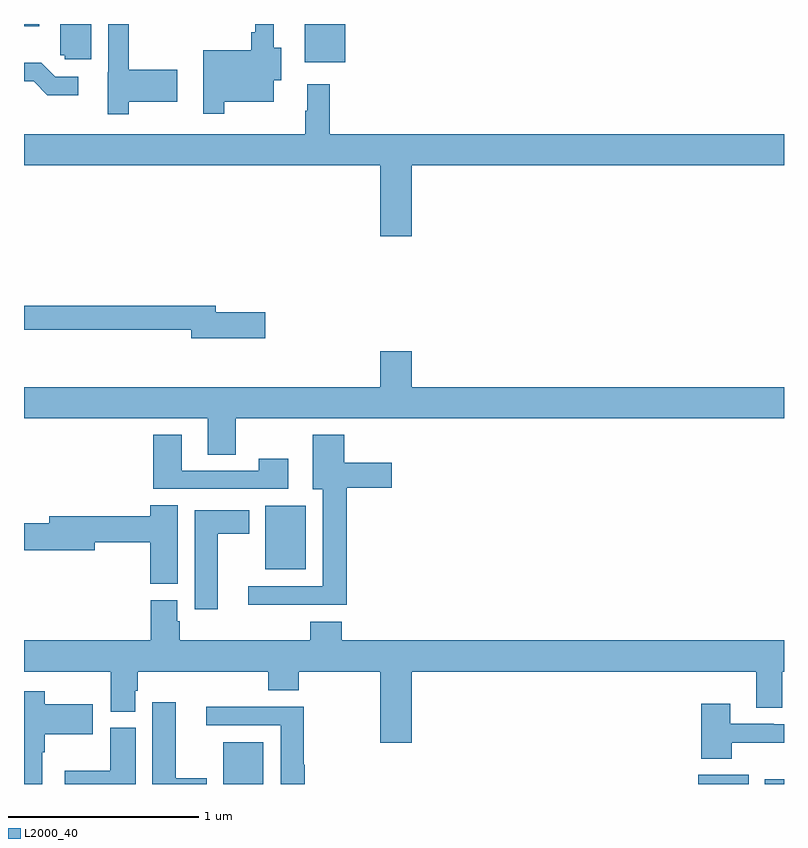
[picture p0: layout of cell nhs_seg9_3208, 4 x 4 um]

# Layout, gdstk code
import gdstk
lib = gdstk.Library(unit=1e-6, precision=1e-09)
def R(c, l, rs):  # rectangles x0, y0, x1, y1
    for r in rs: c.add(gdstk.rectangle(r[:2], r[2:], *l))
def P(c, l, *ps):  # polygons
    for p in ps: c.add(gdstk.Polygon(p, *l))
L2000_40 = (2000, 40)

nhs_seg9_3208 = lib.new_cell('nhs_seg9_3208')
R(nhs_seg9_3208, L2000_40, [(296.048,1190.5,296.26,1190.719), (298.549,1190.5,298.814,1190.548), (298.899,1190.5,299,1190.524), (296.27,1191.629,296.482,1191.964), (296.477,1194.299,296.692,1194.5), (295,1194.488,295.081,1194.5)])
P(nhs_seg9_3208, L2000_40, [(296.053,1194.092),(296.314,1194.092),(296.314,1194.203),(296.353,1194.203),(296.353,1194.374),(296.314,1194.374),(296.314,1194.5),(296.217,1194.5),(296.217,1194.457),(296.197,1194.457),(296.197,1194.361),(295.944,1194.361),(295.944,1194.027),(296.053,1194.027)],
  [(295.552,1194.092),(295.807,1194.092),(295.807,1194.258),(295.552,1194.258),(295.552,1194.5),(295.443,1194.5),(295.443,1194.246),(295.442,1194.246),(295.442,1194.024),(295.552,1194.024)],
  [(295.354,1194.5),(295.19,1194.5),(295.19,1194.336),(295.215,1194.336),(295.215,1194.315),(295.354,1194.315)],
  [(295.285,1194.222),(295.164,1194.222),(295.091,1194.295),(295,1194.295),(295,1194.198),(295.05,1194.198),(295.123,1194.125),(295.285,1194.125)],
  [(297.04,1193.756),(299,1193.756),(299,1193.92),(296.609,1193.92),(296.609,1194.184),(296.492,1194.184),(296.492,1194.044),(296.481,1194.044),(296.481,1193.92),(295,1193.92),(295,1193.756),(296.876,1193.756),(296.876,1193.382),(297.04,1193.382)],
  [(296.269,1192.982),(296.008,1192.982),(296.008,1193.018),(295,1193.018),(295,1192.89),(295.88,1192.89),(295.88,1192.847),(296.269,1192.847)],
  [(296.115,1192.424),(299,1192.424),(299,1192.588),(297.04,1192.588),(297.04,1192.777),(296.876,1192.777),(296.876,1192.588),(295,1192.588),(295,1192.424),(295.967,1192.424),(295.967,1192.234),(296.115,1192.234)],
  [(296.392,1192.213),(296.236,1192.213),(296.236,1192.149),(295.831,1192.149),(295.831,1192.339),(295.679,1192.339),(295.679,1192.053),(296.392,1192.053)],
  [(296.699,1192.058),(296.935,1192.058),(296.935,1192.192),(296.686,1192.192),(296.686,1192.339),(296.519,1192.339),(296.519,1192.052),(296.573,1192.052),(296.573,1191.54),(296.181,1191.54),(296.181,1191.443),(296.699,1191.443)],
  [(295.81,1191.968),(295.664,1191.968),(295.664,1191.908),(295.133,1191.908),(295.133,1191.872),(295,1191.872),(295,1191.73),(295.372,1191.73),(295.372,1191.772),(295.664,1191.772),(295.664,1191.553),(295.81,1191.553)],
  [(296.02,1191.818),(296.185,1191.818),(296.185,1191.94),(295.898,1191.94),(295.898,1191.42),(296.02,1191.42)],
  [(297.04,1191.092),(298.853,1191.092),(298.853,1190.902),(298.992,1190.902),(298.992,1191.092),(299,1191.092),(299,1191.256),(296.672,1191.256),(296.672,1191.355),(296.507,1191.355),(296.507,1191.256),(295.82,1191.256),(295.82,1191.357),(295.807,1191.357),(295.807,1191.468),(295.667,1191.468),(295.667,1191.256),(295,1191.256),(295,1191.092),(295.457,1191.092),(295.457,1190.881),(295.585,1190.881),(295.585,1190.991),(295.598,1190.991),(295.598,1191.092),(296.285,1191.092),(296.285,1190.993),(296.445,1190.993),(296.445,1191.092),(296.876,1191.092),(296.876,1190.718),(297.04,1190.718)],
  [(295.095,1190.666),(295.108,1190.666),(295.108,1190.762),(295.363,1190.762),(295.363,1190.92),(295.108,1190.92),(295.108,1190.989),(295,1190.989),(295,1190.5),(295.095,1190.5)],
  [(295.963,1190.53),(295.798,1190.53),(295.798,1190.929),(295.676,1190.929),(295.676,1190.5),(295.963,1190.5)],
  [(298.725,1190.718),(298.988,1190.718),(298.988,1190.717),(299,1190.717),(299,1190.814),(298.946,1190.814),(298.946,1190.817),(298.717,1190.817),(298.717,1190.923),(298.565,1190.923),(298.565,1190.633),(298.725,1190.633)],
  [(296.477,1190.601),(296.472,1190.601),(296.472,1190.906),(295.959,1190.906),(295.959,1190.808),(296.351,1190.808),(296.351,1190.5),(296.477,1190.5)],
  [(295.588,1190.796),(295.454,1190.796),(295.454,1190.569),(295.214,1190.569),(295.214,1190.5),(295.588,1190.5)])

lib.write_gds('nhs_seg9_3208.gds')
